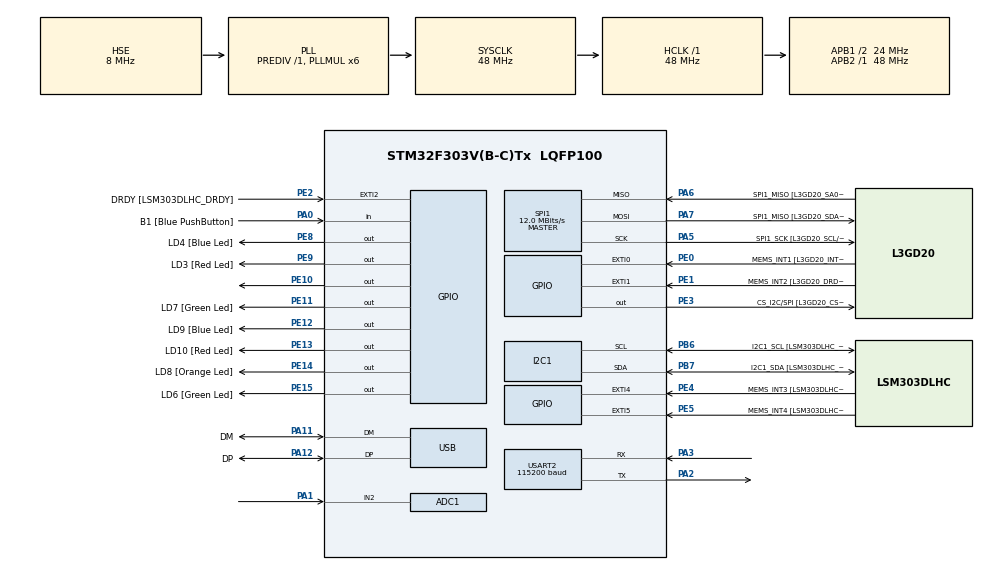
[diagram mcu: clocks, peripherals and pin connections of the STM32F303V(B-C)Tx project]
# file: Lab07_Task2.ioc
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ADC1.Channel-0\#ChannelRegularConversion=ADC_CHANNEL_2
ADC1.ContinuousConvMode=ENABLE
ADC1.NbrOfConversionFlag=1
ADC1.Offset-0\#ChannelRegularConversion=0
ADC1.OffsetNumber-0\#ChannelRegularConversion=ADC_OFFSET_NONE
ADC1.Rank-0\#ChannelRegularConversion=1
ADC1.SamplingTime-0\#ChannelRegularConversion=ADC_SAMPLETIME_61CYCLES_5
ADC1.master=1
I2C1.Timing=0x00201D2B
I2C1.Timing-I2C=0x2000090E
Mcu.Family=STM32F3
Mcu.Name=STM32F303V(B-C)Tx
Mcu.Package=LQFP100
NVIC.ADC1_2_IRQn=true\:0\:0\:false\:false\:true\:true\:true\:true
NVIC.PriorityGroup=NVIC_PRIORITYGROUP_0
PA0.GPIO_Label=B1 [Blue PushButton]
PA0.Signal=GPIO_Input
PA1.Mode=IN2-Single-Ended
PA1.Signal=ADC1_IN2
PA11.GPIO_Label=DM
PA11.Mode=Device
PA11.Signal=USB_DM
PA12.GPIO_Label=DP
PA12.Mode=Device
PA12.Signal=USB_DP
PA13.GPIO_Label=SWDIO
PA13.Mode=Serial_Wire
PA13.Signal=SYS_JTMS-SWDIO
PA14.GPIO_Label=SWCLK
PA14.Mode=Serial_Wire
PA14.Signal=SYS_JTCK-SWCLK
PA2.Mode=Asynchronous
PA2.Signal=USART2_TX
PA3.Mode=Asynchronous
PA3.Signal=USART2_RX
PA5.GPIO_Label=SPI1_SCK [L3GD20_SCL/SPC]
PA5.Mode=Full_Duplex_Master
PA5.Signal=SPI1_SCK
PA6.GPIO_Label=SPI1_MISO [L3GD20_SA0/SDO]
PA6.Mode=Full_Duplex_Master
PA6.Signal=SPI1_MISO
PA7.GPIO_Label=SPI1_MISO [L3GD20_SDA/SDI/SDO]
PA7.Mode=Full_Duplex_Master
PA7.Signal=SPI1_MOSI
PB3.GPIO_Label=SWO
PB3.Signal=SYS_JTDO-TRACESWO
PB6.GPIO_Label=I2C1_SCL [LSM303DLHC_SCL]
PB6.GPIO_Pu=GPIO_PULLUP
PB6.Mode=I2C
PB6.Signal=I2C1_SCL
PB7.GPIO_Label=I2C1_SDA [LSM303DLHC_SDA]
PB7.GPIO_Pu=GPIO_PULLUP
PB7.Mode=I2C
PB7.Signal=I2C1_SDA
PC14-OSC32_IN.GPIO_Label=OSC32_IN
PC14-OSC32_IN.Signal=RCC_OSC32_IN
PC15-OSC32_OUT.GPIO_Label=OSC32_OUT
PC15-OSC32_OUT.Signal=RCC_OSC32_OUT
PE0.GPIO_Label=MEMS_INT1 [L3GD20_INT1]
PE0.GPIO_ModeDefaultEXTI=GPIO_MODE_EVT_RISING
PE0.Signal=GPXTI0
PE1.GPIO_Label=MEMS_INT2 [L3GD20_DRDY/INT2]
PE1.GPIO_ModeDefaultEXTI=GPIO_MODE_EVT_RISING
PE1.Signal=GPXTI1
PE10.Signal=GPIO_Output
PE11.GPIO_Label=LD7 [Green Led]
PE11.Signal=GPIO_Output
PE12.GPIO_Label=LD9 [Blue Led]
PE12.Signal=GPIO_Output
PE13.GPIO_Label=LD10 [Red Led]
PE13.Signal=GPIO_Output
PE14.GPIO_Label=LD8 [Orange Led]
PE14.Signal=GPIO_Output
PE15.GPIO_Label=LD6 [Green Led]
PE15.Signal=GPIO_Output
PE2.GPIO_Label=DRDY [LSM303DLHC_DRDY]
PE2.GPIO_ModeDefaultEXTI=GPIO_MODE_EVT_RISING
PE2.Signal=GPXTI2
PE3.GPIO_Label=CS_I2C/SPI [L3GD20_CS_I2C/SPI]
PE3.Signal=GPIO_Output
PE4.GPIO_Label=MEMS_INT3 [LSM303DLHC_INT1]
PE4.GPIO_ModeDefaultEXTI=GPIO_MODE_EVT_RISING
PE4.Signal=GPXTI4
PE5.GPIO_Label=MEMS_INT4 [LSM303DLHC_INT2]
PE5.GPIO_ModeDefaultEXTI=GPIO_MODE_EVT_RISING
PE5.Signal=GPXTI5
PE8.GPIO_Label=LD4 [Blue Led]
PE8.Signal=GPIO_Output
PE9.GPIO_Label=LD3 [Red Led]
PE9.Signal=GPIO_Output
PF0-OSC_IN.GPIO_Label=OSC_IN
PF0-OSC_IN.Mode=HSE-External-Clock-Source
PF0-OSC_IN.Signal=RCC_OSC_IN
PF1-OSC_OUT.GPIO_Label=OSC_OUT
PF1-OSC_OUT.Signal=RCC_OSC_OUT
ProjectManager.HeapSize=0x200
ProjectManager.StackSize=0x400
ProjectManager.TargetToolchain=CMake
RCC.AHBFreq_Value=48000000
RCC.APB1CLKDivider=RCC_HCLK_DIV2
RCC.APB1Freq_Value=24000000
RCC.APB1TimFreq_Value=48000000
RCC.APB2Freq_Value=48000000
RCC.APB2TimFreq_Value=48000000
RCC.CortexFreq_Value=48000000
RCC.HCLKFreq_Value=48000000
RCC.HSE_VALUE=8000000
RCC.HSI_VALUE=8000000
RCC.LSE_VALUE=32768
RCC.PLLMUL=RCC_PLL_MUL6
RCC.SYSCLKFreq_VALUE=48000000
RCC.SYSCLKSourceVirtual=RCC_SYSCLKSOURCE_PLLCLK
RCC.USBFreq_Value=48000000
SPI1.BaudRatePrescaler=SPI_BAUDRATEPRESCALER_4
SPI1.BaudRatePrescaler-Full_Duplex_Master=SPI_BAUDRATEPRESCALER_2
SPI1.CalculateBaudRate=12.0 MBits/s
SPI1.CalculateBaudRate-Full_Duplex_Master=24.0 MBits/s
SPI1.Direction=SPI_DIRECTION_2LINES
SPI1.Mode=SPI_MODE_MASTER
SPI1.Mode-Full_Duplex_Master=SPI_MODE_MASTER
SPI1.VirtualType=VM_MASTER
STMicroelectronics.X-CUBE-ALGOBUILD.1.4.0.LibraryCcDSPOoLibraryJjDSPOoLibrary=true
USART2.BaudRate=115200
USART2.VirtualMode-Asynchronous=VM_ASYNC
VP_STMicroelectronics.X-CUBE-ALGOBUILD_VS_DSPOoLibraryJjLibrary_1.4.0_1.4.0.Mode=DSPOoLibraryJjLibrary
board=STM32F3DISCOVERY

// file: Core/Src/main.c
/* USER CODE BEGIN Header */
/**
  ******************************************************************************
  * @file           : main.c
  * @brief          : Main program body
  ******************************************************************************
  * @attention
  *
  * Copyright (c) 2026 STMicroelectronics.
  * All rights reserved.
  *
  * This software is licensed under terms that can be found in the LICENSE file
  * in the root directory of this software component.
  * If no LICENSE file comes with this software, it is provided AS-IS.
  *
  ******************************************************************************
  */
/* USER CODE END Header */
#include "main.h"
#include "arm_math.h"     // CMSIS DSP
/* USER CODE BEGIN Includes */
#include <stdio.h>
#include <string.h>
#include <stdarg.h>

/* USER CODE END Includes */

ADC_HandleTypeDef hadc1;

I2C_HandleTypeDef hi2c1;

SPI_HandleTypeDef hspi1;

UART_HandleTypeDef huart2;

PCD_HandleTypeDef hpcd_USB_FS;

/* USER CODE BEGIN PV */

#define FILTER_LEN   10        // 10-point moving average filter window

ADC_HandleTypeDef  hadc1;
UART_HandleTypeDef huart2;

// Filter buffer — stores last 10 ADC samples
float32_t inputBuffer[FILTER_LEN];
float32_t output;              // Filtered output value
uint8_t   bufIndex = 0;        // Circular buffer index

// Raw ADC value (used in interrupt mode)
volatile uint16_t adc_raw = 0;
volatile uint8_t  adc_ready = 0;  // Flag: new

/* USER CODE END PV */

void SystemClock_Config(void);
static void MX_GPIO_Init(void);
static void MX_ADC1_Init(void);
static void MX_I2C1_Init(void);
static void MX_SPI1_Init(void);
static void MX_USART2_UART_Init(void);
static void MX_USB_PCD_Init(void);

/* USER CODE BEGIN 0 */

// -------------------------------------------------------
// Custom UART printf
// -------------------------------------------------------
void myprintf(const char *fmt, ...)
{
    char buffer[128];
    memset(buffer, 0, sizeof(buffer));
    va_list args;
    va_start(args, fmt);
    vsnprintf(buffer, sizeof(buffer), fmt, args);
    va_end(args);
    HAL_UART_Transmit(&huart2, (uint8_t*)buffer, strlen(buffer), HAL_MAX_DELAY);
}

// -------------------------------------------------------
// Apply 10-point moving average filter using CMSIS DSP
// Stores new sample in circular buffer
// Computes mean of last 10 samples using arm_mean_f32()
// -------------------------------------------------------
void apply_moving_average(float32_t new_sample)
{
    // Store new sample in circular buffer (overwrites oldest sample)
    inputBuffer[bufIndex] = new_sample;
    bufIndex = (bufIndex + 1) % FILTER_LEN;   // Wrap around at 10

    // Compute mean of all 10 samples in buffer using CMSIS DSP
    arm_mean_f32(inputBuffer, FILTER_LEN, &output);
}

// -------------------------------------------------------
// ADC Conversion Complete Callback (Interrupt Mode only)
// Called automatically by HAL when ADC conversion is done
// -------------------------------------------------------
void HAL_ADC_ConvCpltCallback(ADC_HandleTypeDef *hadc)
{
    if (hadc->Instance == ADC1)
    {
        adc_raw = HAL_ADC_GetValue(&hadc1);   // Read converted value
        adc_ready = 1;                         // Set flag for main loop
    }
}

/* USER CODE END 0 */

int main(void)
{

  /* MCU Configuration--------------------------------------------------------*/

  /* Reset of all peripherals, Initializes the Flash interface and the Systick. */
  HAL_Init();

  /* Configure the system clock */
  SystemClock_Config();

  /* Initialize all configured peripherals */
  MX_GPIO_Init();
  MX_ADC1_Init();
  MX_I2C1_Init();
  MX_SPI1_Init();
  MX_USART2_UART_Init();
  MX_USB_PCD_Init();
  /* USER CODE BEGIN 2 */
  HAL_ADC_Start_IT(&hadc1);

  /* USER CODE END 2 */

  /* Infinite loop */
  while (1)
  {
    HAL_ADC_Start_IT(&hadc1);

if (adc_ready)
{
   adc_ready = 0;

   // raw voltage in volts for filtering
   float32_t raw_v = (float32_t)vin_mv / 1000.0f;

   // Apply 10-sample moving average
   float32_t filt_v = apply_moving_average(raw_v);

   // Print CSV for Python: raw,filtered
   myprintf("%0.4f,%0.4f\r\n", raw_v, filt_v);

}

HAL_Delay(50);

  }
}

void SystemClock_Config(void)
{
  RCC_OscInitTypeDef RCC_OscInitStruct = {0};
  RCC_ClkInitTypeDef RCC_ClkInitStruct = {0};
  RCC_PeriphCLKInitTypeDef PeriphClkInit = {0};

  /** Initializes the RCC Oscillators according to the specified parameters
  * in the RCC_OscInitTypeDef structure.
  */
  RCC_OscInitStruct.OscillatorType = RCC_OSCILLATORTYPE_HSI|RCC_OSCILLATORTYPE_HSE;
  RCC_OscInitStruct.HSEState = RCC_HSE_BYPASS;
  RCC_OscInitStruct.HSEPredivValue = RCC_HSE_PREDIV_DIV1;
  RCC_OscInitStruct.HSIState = RCC_HSI_ON;
  RCC_OscInitStruct.HSICalibrationValue = RCC_HSICALIBRATION_DEFAULT;
  RCC_OscInitStruct.PLL.PLLState = RCC_PLL_ON;
  RCC_OscInitStruct.PLL.PLLSource = RCC_PLLSOURCE_HSE;
  RCC_OscInitStruct.PLL.PLLMUL = RCC_PLL_MUL6;
  if (HAL_RCC_OscConfig(&RCC_OscInitStruct) != HAL_OK)
  {
    Error_Handler();
  }

  /** Initializes the CPU, AHB and APB buses clocks
  */
  RCC_ClkInitStruct.ClockType = RCC_CLOCKTYPE_HCLK|RCC_CLOCKTYPE_SYSCLK
                              |RCC_CLOCKTYPE_PCLK1|RCC_CLOCKTYPE_PCLK2;
  RCC_ClkInitStruct.SYSCLKSource = RCC_SYSCLKSOURCE_PLLCLK;
  RCC_ClkInitStruct.AHBCLKDivider = RCC_SYSCLK_DIV1;
  RCC_ClkInitStruct.APB1CLKDivider = RCC_HCLK_DIV2;
  RCC_ClkInitStruct.APB2CLKDivider = RCC_HCLK_DIV1;

  if (HAL_RCC_ClockConfig(&RCC_ClkInitStruct, FLASH_LATENCY_1) != HAL_OK)
  {
    Error_Handler();
  }
  PeriphClkInit.PeriphClockSelection = RCC_PERIPHCLK_USB|RCC_PERIPHCLK_USART2
                              |RCC_PERIPHCLK_I2C1|RCC_PERIPHCLK_ADC12;
  PeriphClkInit.Usart2ClockSelection = RCC_USART2CLKSOURCE_PCLK1;
  PeriphClkInit.Adc12ClockSelection = RCC_ADC12PLLCLK_DIV1;
  PeriphClkInit.I2c1ClockSelection = RCC_I2C1CLKSOURCE_HSI;
  PeriphClkInit.USBClockSelection = RCC_USBCLKSOURCE_PLL;
  if (HAL_RCCEx_PeriphCLKConfig(&PeriphClkInit) != HAL_OK)
  {
    Error_Handler();
  }
}

static void MX_ADC1_Init(void)
{

  ADC_MultiModeTypeDef multimode = {0};
  ADC_ChannelConfTypeDef sConfig = {0};

  /** Common config
  */
  hadc1.Instance = ADC1;
  hadc1.Init.ClockPrescaler = ADC_CLOCK_ASYNC_DIV1;
  hadc1.Init.Resolution = ADC_RESOLUTION_12B;
  hadc1.Init.ScanConvMode = ADC_SCAN_DISABLE;
  hadc1.Init.ContinuousConvMode = DISABLE;
  hadc1.Init.DiscontinuousConvMode = DISABLE;
  hadc1.Init.ExternalTrigConvEdge = ADC_EXTERNALTRIGCONVEDGE_NONE;
  hadc1.Init.ExternalTrigConv = ADC_SOFTWARE_START;
  hadc1.Init.DataAlign = ADC_DATAALIGN_RIGHT;
  hadc1.Init.NbrOfConversion = 1;
  hadc1.Init.DMAContinuousRequests = DISABLE;
  hadc1.Init.EOCSelection = ADC_EOC_SINGLE_CONV;
  hadc1.Init.LowPowerAutoWait = DISABLE;
  hadc1.Init.Overrun = ADC_OVR_DATA_OVERWRITTEN;
  if (HAL_ADC_Init(&hadc1) != HAL_OK)
  {
    Error_Handler();
  }

  /** Configure the ADC multi-mode
  */
  multimode.Mode = ADC_MODE_INDEPENDENT;
  if (HAL_ADCEx_MultiModeConfigChannel(&hadc1, &multimode) != HAL_OK)
  {
    Error_Handler();
  }

  /** Configure Regular Channel
  */
  sConfig.Channel = ADC_CHANNEL_2;
  sConfig.Rank = ADC_REGULAR_RANK_1;
  sConfig.SingleDiff = ADC_SINGLE_ENDED;
  sConfig.SamplingTime = ADC_SAMPLETIME_61CYCLES_5;
  sConfig.OffsetNumber = ADC_OFFSET_NONE;
  sConfig.Offset = 0;
  if (HAL_ADC_ConfigChannel(&hadc1, &sConfig) != HAL_OK)
  {
    Error_Handler();
  }

}

static void MX_I2C1_Init(void)
{

  hi2c1.Instance = I2C1;
  hi2c1.Init.Timing = 0x2000090E;
  hi2c1.Init.OwnAddress1 = 0;
  hi2c1.Init.AddressingMode = I2C_ADDRESSINGMODE_7BIT;
  hi2c1.Init.DualAddressMode = I2C_DUALADDRESS_DISABLE;
  hi2c1.Init.OwnAddress2 = 0;
  hi2c1.Init.OwnAddress2Masks = I2C_OA2_NOMASK;
  hi2c1.Init.GeneralCallMode = I2C_GENERALCALL_DISABLE;
  hi2c1.Init.NoStretchMode = I2C_NOSTRETCH_DISABLE;
  if (HAL_I2C_Init(&hi2c1) != HAL_OK)
  {
    Error_Handler();
  }

  /** Configure Analogue filter
  */
  if (HAL_I2CEx_ConfigAnalogFilter(&hi2c1, I2C_ANALOGFILTER_ENABLE) != HAL_OK)
  {
    Error_Handler();
  }

  /** Configure Digital filter
  */
  if (HAL_I2CEx_ConfigDigitalFilter(&hi2c1, 0) != HAL_OK)
  {
    Error_Handler();
  }

}

static void MX_SPI1_Init(void)
{

  /* SPI1 parameter configuration*/
  hspi1.Instance = SPI1;
  hspi1.Init.Mode = SPI_MODE_MASTER;
  hspi1.Init.Direction = SPI_DIRECTION_2LINES;
  hspi1.Init.DataSize = SPI_DATASIZE_4BIT;
  hspi1.Init.CLKPolarity = SPI_POLARITY_LOW;
  hspi1.Init.CLKPhase = SPI_PHASE_1EDGE;
  hspi1.Init.NSS = SPI_NSS_SOFT;
  hspi1.Init.BaudRatePrescaler = SPI_BAUDRATEPRESCALER_4;
  hspi1.Init.FirstBit = SPI_FIRSTBIT_MSB;
  hspi1.Init.TIMode = SPI_TIMODE_DISABLE;
  hspi1.Init.CRCCalculation = SPI_CRCCALCULATION_DISABLE;
  hspi1.Init.CRCPolynomial = 7;
  hspi1.Init.CRCLength = SPI_CRC_LENGTH_DATASIZE;
  hspi1.Init.NSSPMode = SPI_NSS_PULSE_ENABLE;
  if (HAL_SPI_Init(&hspi1) != HAL_OK)
  {
    Error_Handler();
  }

}

static void MX_USART2_UART_Init(void)
{

  huart2.Instance = USART2;
  huart2.Init.BaudRate = 115200;
  huart2.Init.WordLength = UART_WORDLENGTH_8B;
  huart2.Init.StopBits = UART_STOPBITS_1;
  huart2.Init.Parity = UART_PARITY_NONE;
  huart2.Init.Mode = UART_MODE_TX_RX;
  huart2.Init.HwFlowCtl = UART_HWCONTROL_NONE;
  huart2.Init.OverSampling = UART_OVERSAMPLING_16;
  huart2.Init.OneBitSampling = UART_ONE_BIT_SAMPLE_DISABLE;
  huart2.AdvancedInit.AdvFeatureInit = UART_ADVFEATURE_NO_INIT;
  if (HAL_UART_Init(&huart2) != HAL_OK)
  {
    Error_Handler();
  }

}

static void MX_USB_PCD_Init(void)
{

  hpcd_USB_FS.Instance = USB;
  hpcd_USB_FS.Init.dev_endpoints = 8;
  hpcd_USB_FS.Init.speed = PCD_SPEED_FULL;
  hpcd_USB_FS.Init.phy_itface = PCD_PHY_EMBEDDED;
  hpcd_USB_FS.Init.low_power_enable = DISABLE;
  hpcd_USB_FS.Init.battery_charging_enable = DISABLE;
  if (HAL_PCD_Init(&hpcd_USB_FS) != HAL_OK)
  {
    Error_Handler();
  }

}

static void MX_GPIO_Init(void)
{
  GPIO_InitTypeDef GPIO_InitStruct = {0};

  /* GPIO Ports Clock Enable */
  __HAL_RCC_GPIOE_CLK_ENABLE();
  __HAL_RCC_GPIOC_CLK_ENABLE();
  __HAL_RCC_GPIOF_CLK_ENABLE();
  __HAL_RCC_GPIOA_CLK_ENABLE();
  __HAL_RCC_GPIOB_CLK_ENABLE();

  /*Configure GPIO pin Output Level */
  HAL_GPIO_WritePin(GPIOE, CS_I2C_SPI_Pin|LD4_Pin|LD3_Pin|GPIO_PIN_10
                          |LD7_Pin|LD9_Pin|LD10_Pin|LD8_Pin
                          |LD6_Pin, GPIO_PIN_RESET);

  /*Configure GPIO pins : DRDY_Pin MEMS_INT3_Pin MEMS_INT4_Pin MEMS_INT1_Pin
                           MEMS_INT2_Pin */
  GPIO_InitStruct.Pin = DRDY_Pin|MEMS_INT3_Pin|MEMS_INT4_Pin|MEMS_INT1_Pin
                          |MEMS_INT2_Pin;
  GPIO_InitStruct.Mode = GPIO_MODE_EVT_RISING;
  GPIO_InitStruct.Pull = GPIO_NOPULL;
  HAL_GPIO_Init(GPIOE, &GPIO_InitStruct);

  /*Configure GPIO pins : CS_I2C_SPI_Pin LD4_Pin LD3_Pin PE10
                           LD7_Pin LD9_Pin LD10_Pin LD8_Pin
                           LD6_Pin */
  GPIO_InitStruct.Pin = CS_I2C_SPI_Pin|LD4_Pin|LD3_Pin|GPIO_PIN_10
                          |LD7_Pin|LD9_Pin|LD10_Pin|LD8_Pin
                          |LD6_Pin;
  GPIO_InitStruct.Mode = GPIO_MODE_OUTPUT_PP;
  GPIO_InitStruct.Pull = GPIO_NOPULL;
  GPIO_InitStruct.Speed = GPIO_SPEED_FREQ_LOW;
  HAL_GPIO_Init(GPIOE, &GPIO_InitStruct);

  /*Configure GPIO pin : B1_Pin */
  GPIO_InitStruct.Pin = B1_Pin;
  GPIO_InitStruct.Mode = GPIO_MODE_INPUT;
  GPIO_InitStruct.Pull = GPIO_NOPULL;
  HAL_GPIO_Init(B1_GPIO_Port, &GPIO_InitStruct);

}

void Error_Handler(void)
{
  __disable_irq();
  while (1)
  {
  }
}
